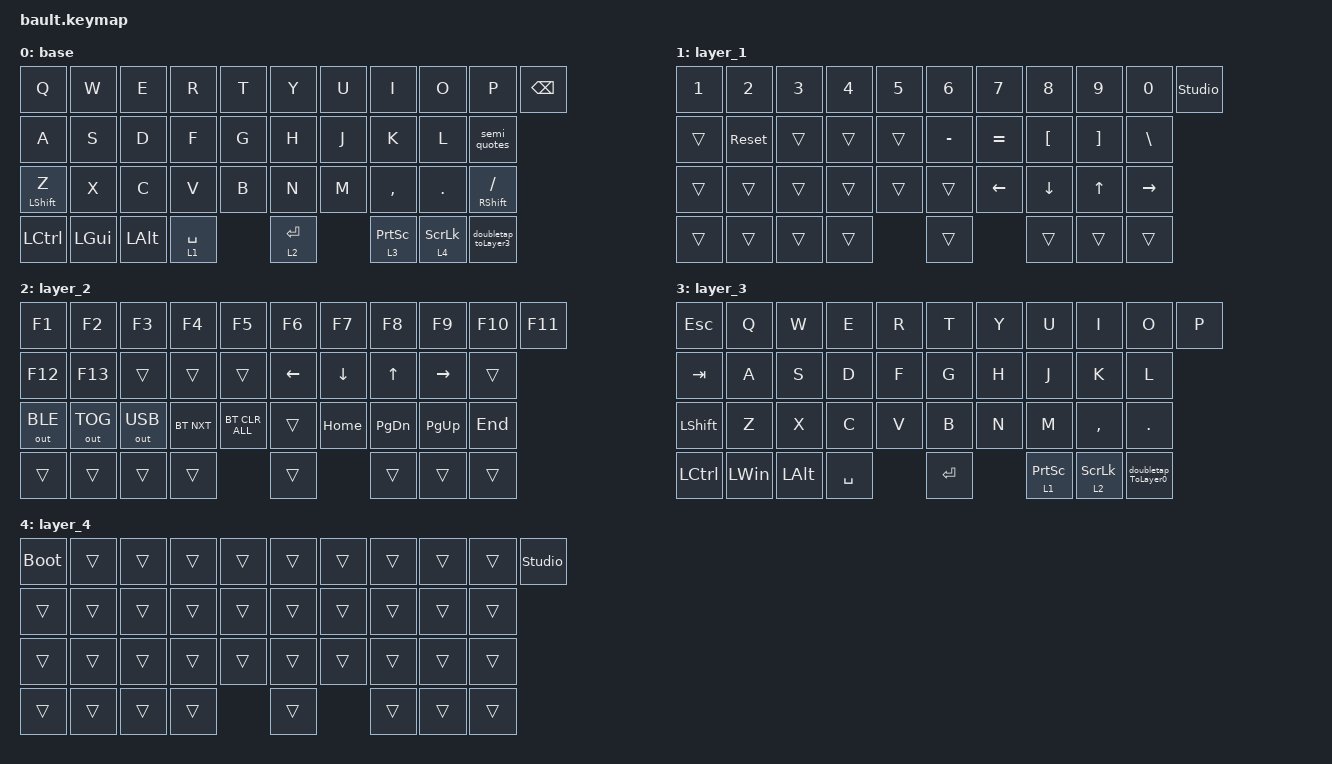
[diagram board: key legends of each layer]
#include <behaviors.dtsi>
#include <dt-bindings/zmk/bt.h>
#include <dt-bindings/zmk/keys.h>
#include <dt-bindings/zmk/outputs.h>

/ {
    behaviors {
        hm: homerow_mods {
            compatible = "zmk,behavior-hold-tap";
            display-name = "Homerow Mods";
            bindings = <&kp>, <&kp>;

            #binding-cells = <2>;
            tapping-term-ms = <200>;
            quick-tap-ms = <180>;
            require-prior-idle-ms = <0>;
            flavor = "tap-preferred";
        };

        semi_quotes: semi_quotes {
            compatible = "zmk,behavior-tap-dance";
            label = "SEMI_QUOTES";
            #binding-cells = <0>;
            bindings = <&kp SINGLE_QUOTE>, <&kp SEMI>;
        };

        doubletap_ToLayer0: doubletap_ToLayer0 {
            compatible = "zmk,behavior-tap-dance";
            label = "DOUBLETAP_TOLAYER0";
            #binding-cells = <0>;
            bindings = <&mo 2>, <&to 0>;
        };

        doubletap_toLayer3: doubletap_toLayer3 {
            compatible = "zmk,behavior-tap-dance";
            label = "DOUBLETAP_TOLAYER3";
            #binding-cells = <0>;
            bindings = <&kp PRINTSCREEN>, <&to 3>;
        };
    };

    combos {
        compatible = "zmk,combos";

        layer_1 {
            bindings = <&mo 1>;
            key-positions = <33 34>;
        };

        layer_2 {
            bindings = <&mo 2>;
            key-positions = <33 35>;
        };

        Layer_3 {
            bindings = <&mo 3>;
            key-positions = <33 36>;
        };

        Layer_4 {
            bindings = <&mo 4>;
            key-positions = <33 37>;
        };

        qw_esc {
            bindings = <&kp ESCAPE>;
            key-positions = <0 1>;
        };

        bootloader {
            bindings = <&bootloader>;
            key-positions = <0 10 32 37>;
        };

        sys_reset {
            bindings = <&sys_reset>;
            key-positions = <12 34 35>;
        };

        as_tab {
            bindings = <&kp TAB>;
            key-positions = <11 12>;
        };

        studioUnlock {
            bindings = <&studio_unlock>;
            key-positions = <34 35 10>;
        };
    };

    keymap {
        compatible = "zmk,keymap";

        base {
            bindings = <
&kp Q             &kp W         &kp E         &kp R        &kp T  &kp Y        &kp U  &kp I              &kp O             &kp P                  &kp BACKSPACE
&kp A             &kp S         &kp D         &kp F        &kp G  &kp H        &kp J  &kp K              &kp L             &semi_quotes
&mt LEFT_SHIFT Z  &kp X         &kp C         &kp V        &kp B  &kp N        &kp M  &kp COMMA          &kp PERIOD        &mt RIGHT_SHIFT SLASH
&kp LEFT_CONTROL  &kp LEFT_GUI  &kp LEFT_ALT  &lt 1 SPACE         &lt 2 ENTER         &lt 3 PRINTSCREEN  &lt 4 SCROLLLOCK  &doubletap_toLayer3
            >;
        };

        layer_1 {
            bindings = <
&kp N1  &kp N2      &kp N3  &kp N4  &kp N5  &kp N6     &kp N7     &kp N8            &kp N9             &kp N0         &studio_unlock
&trans  &sys_reset  &trans  &trans  &trans  &kp MINUS  &kp EQUAL  &kp LEFT_BRACKET  &kp RIGHT_BRACKET  &kp BACKSLASH
&trans  &trans      &trans  &trans  &trans  &trans     &kp LEFT   &kp DOWN          &kp UP_ARROW       &kp RIGHT
&trans  &trans      &trans  &trans          &trans                &trans            &trans             &trans
            >;
        };

        layer_2 {
            bindings = <
&kp F1        &kp F2        &kp F3        &kp F4      &kp F5          &kp F6    &kp F7    &kp F8         &kp F9       &kp F10  &kp F11
&kp F12       &kp F13       &trans        &trans      &trans          &kp LEFT  &kp DOWN  &kp UP_ARROW   &kp RIGHT    &trans
&out OUT_BLE  &out OUT_TOG  &out OUT_USB  &bt BT_NXT  &bt BT_CLR_ALL  &trans    &kp HOME  &kp PAGE_DOWN  &kp PAGE_UP  &kp END
&trans        &trans        &trans        &trans                      &trans              &trans         &trans       &trans
            >;
        };

        layer_3 {
            bindings = <
&kp ESC           &kp Q         &kp W     &kp E      &kp R  &kp T      &kp Y  &kp U              &kp I             &kp O                &kp P
&kp TAB           &kp A         &kp S     &kp D      &kp F  &kp G      &kp H  &kp J              &kp K             &kp L
&kp LSHFT         &kp Z         &kp X     &kp C      &kp V  &kp B      &kp N  &kp M              &kp COMMA         &kp DOT
&kp LEFT_CONTROL  &kp LEFT_WIN  &kp LALT  &kp SPACE         &kp ENTER         &lt 1 PRINTSCREEN  &lt 2 SCROLLLOCK  &doubletap_ToLayer0
            >;
        };

        layer_4 {
            bindings = <
&bootloader  &trans  &trans  &trans  &trans  &trans  &trans  &trans  &trans  &trans  &studio_unlock
&trans       &trans  &trans  &trans  &trans  &trans  &trans  &trans  &trans  &trans
&trans       &trans  &trans  &trans  &trans  &trans  &trans  &trans  &trans  &trans
&trans       &trans  &trans  &trans          &trans          &trans  &trans  &trans
            >;
        };
    };
};
